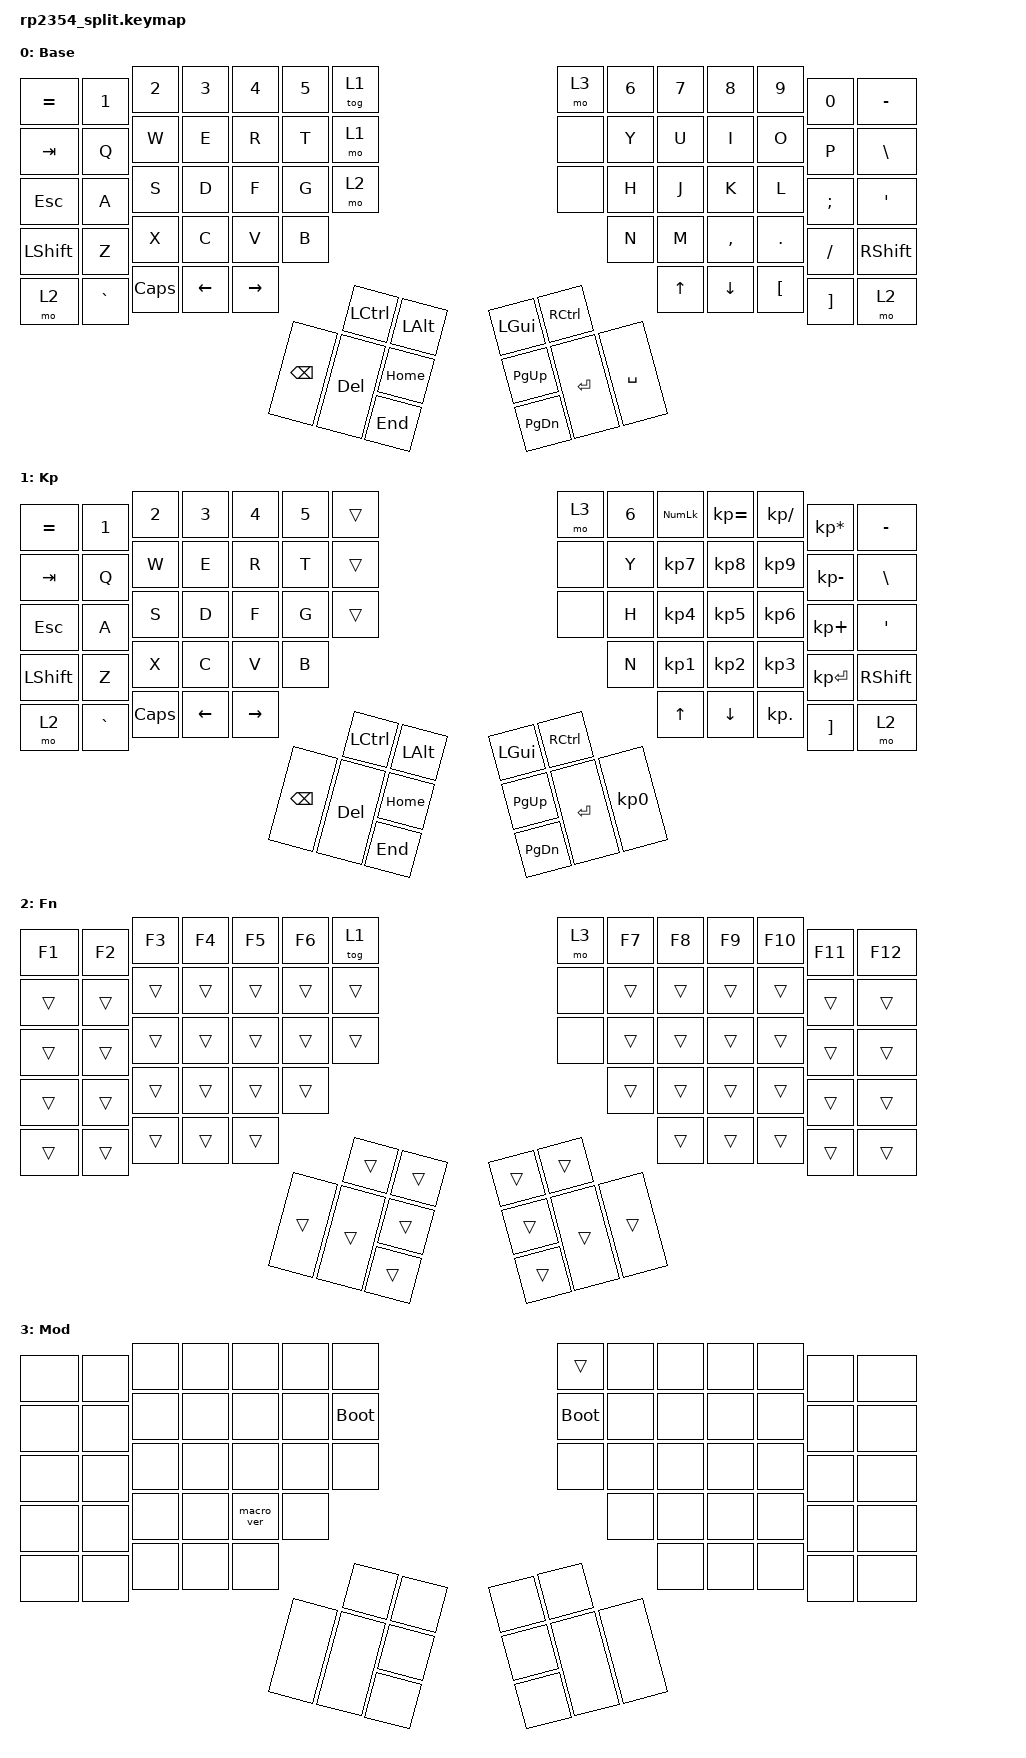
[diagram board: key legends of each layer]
#include <behaviors.dtsi>
#include <dt-bindings/zmk/keys.h>

/ {
    behaviors {
        macro_ver: macro_ver {
            compatible = "zmk,behavior-macro";
            #binding-cells = <0>;
            display-name = "F22";
            bindings = <&kp F>, <&kp N2>, <&kp N2>;
        };

        hm: homerow_mods {
            compatible = "zmk,behavior-hold-tap";
            #binding-cells = <2>;
            tapping-term-ms = <200>;
            quick-tap-ms = <175>;
            flavor = "tap-preferred";
            bindings = <&kp>, <&kp>;
        };
    };

    keymap {
        compatible = "zmk,keymap";

        default_layer {
            display-name = "Base";
            bindings = <
                &kp EQUAL &kp N1    &kp N2   &kp N3   &kp N4     &kp N5 &tog 1                                                           &mo 3 &kp N6 &kp N7 &kp N8    &kp N9   &kp N0   &kp MINUS
                &kp TAB   &kp Q     &kp W    &kp E    &kp R      &kp T  &mo 1                                                            &none &kp Y  &kp U  &kp I     &kp O    &kp P    &kp BSLH
                &kp ESC   &kp A     &kp S    &kp D    &kp F      &kp G  &mo 2           &kp LCTRL &kp LALT &kp LGUI  &kp RCTRL           &none &kp H  &kp J  &kp K     &kp L    &kp SEMI &kp SQT
                &kp LSHFT &kp Z     &kp X    &kp C    &kp V      &kp B                            &kp HOME &kp PG_UP                           &kp N  &kp M  &kp COMMA &kp DOT  &kp FSLH &kp RSHFT
                &mo 2     &kp GRAVE &kp CAPS &kp LEFT &kp RIGHT                &kp BSPC &kp DEL   &kp END  &kp PG_DN &kp ENTER &kp SPACE              &kp UP &kp DOWN  &kp LBKT &kp RBKT &mo 2
            >;
        };

        keypad {
            display-name = "Kp";
            bindings = <
                &kp EQUAL &kp N1    &kp N2   &kp N3   &kp N4     &kp N5 &trans                                                           &mo 3 &kp N6 &kp KP_NUM &kp KP_EQUAL &kp KP_DIVIDE &kp KP_MULTIPLY &kp MINUS
                &kp TAB   &kp Q     &kp W    &kp E    &kp R      &kp T  &trans                                                           &none &kp Y  &kp KP_N7  &kp KP_N8    &kp KP_N9     &kp KP_MINUS    &kp BSLH
                &kp ESC   &kp A     &kp S    &kp D    &kp F      &kp G  &trans          &kp LCTRL &kp LALT &kp LGUI  &kp RCTRL           &none &kp H  &kp KP_N4  &kp KP_N5    &kp KP_N6     &kp KP_PLUS     &kp SQT
                &kp LSHFT &kp Z     &kp X    &kp C    &kp V      &kp B                            &kp HOME &kp PG_UP                           &kp N  &kp KP_N1  &kp KP_N2    &kp KP_N3     &kp KP_ENTER    &kp RSHFT
                &mo 2     &kp GRAVE &kp CAPS &kp LEFT &kp RIGHT                &kp BSPC &kp DEL   &kp END  &kp PG_DN &kp ENTER &kp KP_N0              &kp UP     &kp DOWN     &kp KP_DOT    &kp RBKT        &mo 2
            >;
        };

        fn {
            display-name = "Fn";
            bindings = <
                &kp F1 &kp F2 &kp F3 &kp F4 &kp F5 &kp F6 &tog 1                                           &mo 3 &kp F7 &kp F8 &kp F9 &kp F10 &kp F11 &kp F12
                &trans &trans &trans &trans &trans &trans  &trans                                          &none &trans &trans &trans &trans  &trans  &trans
                &trans &trans &trans &trans &trans &trans  &trans       &trans &trans &trans &trans        &none &trans &trans &trans &trans  &trans  &trans
                &trans &trans &trans &trans &trans &trans                      &trans &trans                     &trans &trans &trans &trans  &trans  &trans
                &trans &trans &trans &trans &trans               &trans &trans &trans &trans &trans &trans              &trans &trans &trans  &trans  &trans
            >;
        };

        mod {
            display-name = "Mod";
            bindings = <
                &none &none &none &none &none &none &none                                                          &trans       &none &none &none &none &none &none
                &none &none &none &none &none &none &bootloader                                                    &bootloader  &none &none &none &none &none &none
                &none &none &none &none &none &none &none        &none &none &none &none                           &none        &none &none &none &none &none &none
                &none &none &none &none &macro_ver &none                                      &none &none                      &none &none &none &none &none &none
                &none &none &none &none &none                         &none &none &none &none &none &none                         &none &none &none &none &none
            >;
        };

        extra1 {
            display-name = "Red";
            status = "reserved";
        };

        extra2 {
            display-name = "Purple";
            status = "reserved";
        };

        extra3 {
            display-name = "Cyan";
            status = "reserved";
        };

        extra4 {
            display-name = "Yellow";
            status = "reserved";
        };
    };
};
